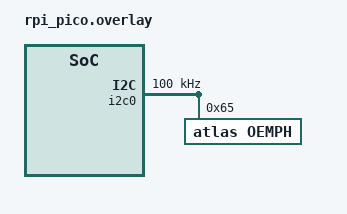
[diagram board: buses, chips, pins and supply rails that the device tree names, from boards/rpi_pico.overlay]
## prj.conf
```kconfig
CONFIG_I2C=y
CONFIG_SHELL=y
CONFIG_I2C_SHELL=y
CONFIG_LOG=y
CONFIG_LOG_PRINTK=y
CONFIG_CONSOLE=y
CONFIG_UART_CONSOLE=y
CONFIG_SENSOR=y
CONFIG_OEMPH=y
CONFIG_SENSOR_LOG_LEVEL_DBG=y
```

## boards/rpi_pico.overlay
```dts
&i2c0{
	clock-frequency = <I2C_BITRATE_STANDARD>;
	status = "okay";
	pinctrl-0 = <&i2c0_default>;
	pinctrl-names = "default";
oemph:oemph@65{
		compatible = "atlas,oemph";
		status = "okay";
		reg = <0x65>;
	};
 };
		
```

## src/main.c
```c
#include <zephyr/kernel.h>
#include <zephyr/device.h>
#include <zephyr/drivers/sensor.h>
#include <zephyr/sys/printk.h>
#include <zephyr/logging/log.h>
#include <zephyr/shell/shell.h>
#include <oemph.h>

LOG_MODULE_REGISTER(simple_app);
const struct device *dev;

static int cmd_calib_clear(const struct shell *sh,
                           size_t argc, char **argv, void *data)
{
  int rc = sensor_attr_set(dev,SENSOR_CHAN_OEMPH_PH,SENSOR_ATTR_OEMPH_CALIBRATION_CLEAR,NULL);
  shell_print(sh,"Setting attribute for calibration clear - %d",rc);
  return rc;
}

static int cmd_calib_low(const struct shell *sh,
                           size_t argc, char **argv, void *data)
{
  struct sensor_value calib = {};
  calib.val1 = atoi(argv[1]);
  int rc = sensor_attr_set(dev,SENSOR_CHAN_OEMPH_PH,SENSOR_ATTR_OEMPH_CALIBRATION_LOW,&calib);
  shell_print(sh,"Setting attribute for calibration low - %d",rc);
  return 0;
}

static int cmd_calib_mid(const struct shell *sh,
                         size_t argc, char **argv, void *data)
{
  struct sensor_value calib = {};
  calib.val1 = atoi(argv[1]);
  int rc = sensor_attr_set(dev,SENSOR_CHAN_OEMPH_PH,SENSOR_ATTR_OEMPH_CALIBRATION_MID,&calib);
  shell_print(sh,"Setting attribute for calibration mid - %d",rc);
  return 0;
}

static int cmd_calib_high(const struct shell *sh,
                         size_t argc, char **argv, void *data)
{
  struct sensor_value calib = {};
  calib.val1 = atoi(argv[1]);
  int rc = sensor_attr_set(dev,SENSOR_CHAN_OEMPH_PH,SENSOR_ATTR_OEMPH_CALIBRATION_HIGH,&calib);
  shell_print(sh,"Setting attribute for calibration high - %d",rc);
  return 0;
}

/* Creating subcommands (level 1 command) array for command "demo". */
SHELL_STATIC_SUBCMD_SET_CREATE(sub_demo,
                               SHELL_CMD(clear, NULL, " Clear",
                                         cmd_calib_clear),
                               SHELL_CMD(low,   NULL, " Low", cmd_calib_low),
                               SHELL_CMD(mid,   NULL, " Mid", cmd_calib_mid),
                               SHELL_CMD(high,  NULL, " High", cmd_calib_high),
                               SHELL_SUBCMD_SET_END
                               );
/* Creating root (level 0) command "demo" */
SHELL_CMD_REGISTER(demo, &sub_demo, "Calib commands", NULL);


int main(void)
{
  LOG_INF("Running OEMPH simple app on %s\n", CONFIG_BOARD);
  dev = DEVICE_DT_GET_ANY(atlas_oemph);
  if (dev == NULL) {
    LOG_INF("No device found");
    return 0;
  }
  LOG_INF("Setting attributes");

  struct sensor_value ph;

  /* while (true) { */
  /*   rc = sensor_sample_fetch(dev); */
  /*   if (rc != 0 ){ */
  /*           LOG_ERR("OEMPH failed: %d",rc); */
  /*     break; */
  /*   } */
  /*   else { // read channels */
  /*     rc = sensor_channel_get(dev, SENSOR_CHAN_OEMPH_PH, &ph); */
  /*           LOG_INF("PH value %f", sensor_value_to_double(&ph)); */
  /*   } */
  /*   k_msleep(2000); */
  /* } */
  while(true){
    k_msleep(2000);
  }
  return 0;
}
```
